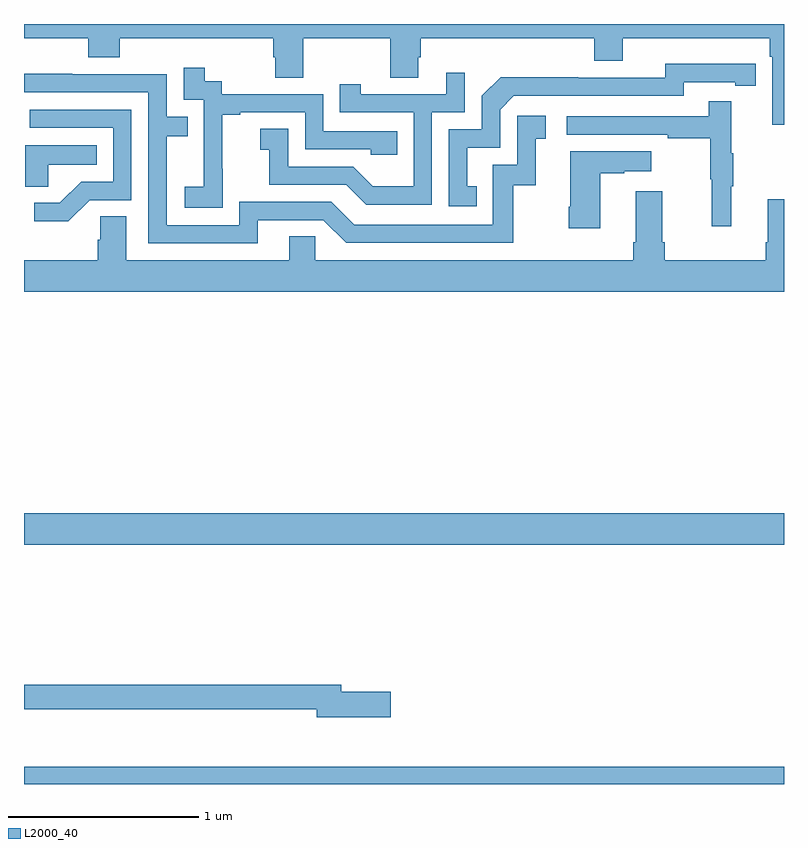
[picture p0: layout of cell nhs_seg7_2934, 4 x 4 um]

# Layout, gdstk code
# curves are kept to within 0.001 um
import gdstk
lib = gdstk.Library(unit=1e-6, precision=1e-09)
def R(c, l, rs):  # rectangles x0, y0, x1, y1
    for r in rs: c.add(gdstk.rectangle(r[:2], r[2:], *l))
def P(c, l, *ps):  # polygons
    for p in ps: c.add(gdstk.Polygon(p, *l))
L2000_40 = (2000, 40)

nhs_seg7_2934 = lib.new_cell('nhs_seg7_2934')
R(nhs_seg7_2934, L2000_40, [(299,1022,303,1022.092), (299,1023.26,303,1023.424)])
P(nhs_seg7_2934, L2000_40, [(299,1025.924),(299.339,1025.924),(299.339,1025.825),(299.504,1025.825),(299.504,1025.924),(300.311,1025.924),(300.311,1025.826),(300.323,1025.826),(300.323,1025.716),(300.471,1025.716),(300.471,1025.924),(300.928,1025.924),(300.928,1025.716),(301.075,1025.716),(301.075,1025.826),(301.088,1025.826),(301.088,1025.924),(302,1025.924),(302,1025.807),(302.152,1025.807),(302.152,1025.924),(302.924,1025.924),(302.924,1025.828),(302.937,1025.828),(302.937,1025.469),(303,1025.469),(303,1026),(299,1026)],
  [(301.382,1025.145),(301.333,1025.145),(301.333,1025.349),(301.506,1025.349),(301.506,1025.55),(301.578,1025.622),(302.472,1025.622),(302.472,1025.694),(302.744,1025.694),(302.744,1025.674),(302.852,1025.674),(302.852,1025.79),(302.376,1025.791),(302.376,1025.718),(301.916,1025.718),(301.916,1025.72),(301.508,1025.72),(301.41,1025.622),(301.41,1025.445),(301.236,1025.445),(301.236,1025.04),(301.382,1025.04)],
  [(300.045,1025.239),(300.044,1025.239),(300.044,1025.523),(300.139,1025.523),(300.139,1025.535),(300.48,1025.535),(300.48,1025.34),(300.825,1025.34),(300.825,1025.313),(300.965,1025.313),(300.965,1025.436),(300.576,1025.436),(300.576,1025.631),(300.042,1025.631),(300.042,1025.7),(299.95,1025.7),(299.95,1025.77),(299.841,1025.77),(299.841,1025.601),(299.946,1025.601),(299.946,1025.372),(299.945,1025.372),(299.945,1025.143),(299.847,1025.143),(299.847,1025.033),(300.045,1025.033)],
  [(301.146,1025.535),(301.32,1025.535),(301.32,1025.743),(301.223,1025.743),(301.223,1025.631),(300.772,1025.631),(300.772,1025.683),(300.661,1025.683),(300.661,1025.535),(301.05,1025.535),(301.05,1025.146),(300.836,1025.146),(300.732,1025.25),(300.39,1025.25),(300.39,1025.449),(300.243,1025.449),(300.243,1025.339),(300.292,1025.339),(300.292,1025.154),(300.695,1025.154),(300.8,1025.049),(301.146,1025.049)],
  [(300.229,1024.968),(300.576,1024.968),(300.696,1024.848),(301.576,1024.848),(301.576,1025.151),(301.694,1025.151),(301.694,1025.397),(301.747,1025.397),(301.747,1025.518),(301.596,1025.518),(301.596,1025.259),(301.467,1025.259),(301.467,1024.944),(300.738,1024.944),(300.618,1025.064),(300.132,1025.064),(300.132,1024.941),(299.751,1024.941),(299.751,1025.41),(299.861,1025.41),(299.861,1025.511),(299.751,1025.511),(299.751,1025.736),(299.255,1025.736),(299.255,1025.738),(299,1025.738),(299,1025.64),(299.655,1025.64),(299.655,1024.845),(300.229,1024.845)],
  [(302.723,1025.147),(302.734,1025.147),(302.734,1025.321),(302.723,1025.321),(302.723,1025.593),(302.605,1025.593),(302.605,1025.514),(301.857,1025.514),(301.857,1025.418),(302.389,1025.418),(302.389,1025.398),(302.613,1025.398),(302.613,1025.184),(302.62,1025.184),(302.62,1024.935),(302.723,1024.935)],
  [(299.346,1025.073),(299.565,1025.073),(299.565,1025.55),(299.031,1025.55),(299.031,1025.454),(299.469,1025.454),(299.469,1025.169),(299.3,1025.169),(299.189,1025.058),(299.055,1025.058),(299.055,1024.961),(299.233,1024.961)],
  [(299.127,1025.258),(299.384,1025.258),(299.384,1025.362),(299.006,1025.362),(299.006,1025.143),(299.127,1025.143)],
  [(302.032,1025.215),(302.159,1025.215),(302.159,1025.225),(302.302,1025.225),(302.302,1025.329),(301.874,1025.329),(301.874,1025.038),(301.867,1025.038),(301.867,1024.926),(302.032,1024.926)],
  [(303,1025.077),(302.915,1025.077),(302.915,1024.852),(302.903,1024.852),(302.903,1024.756),(302.372,1024.756),(302.372,1024.852),(302.359,1024.852),(302.359,1025.119),(302.219,1025.119),(302.219,1024.852),(302.207,1024.852),(302.207,1024.756),(300.534,1024.756),(300.534,1024.883),(300.395,1024.883),(300.395,1024.756),(299.539,1024.756),(299.539,1024.988),(299.4,1024.988),(299.4,1024.865),(299.387,1024.865),(299.387,1024.756),(299,1024.756),(299,1024.592),(303,1024.592)],
  [(300.931,1022.486),(300.67,1022.486),(300.67,1022.522),(299,1022.522),(299,1022.394),(300.542,1022.394),(300.542,1022.351),(300.931,1022.351)])

lib.write_gds('nhs_seg7_2934.gds')
